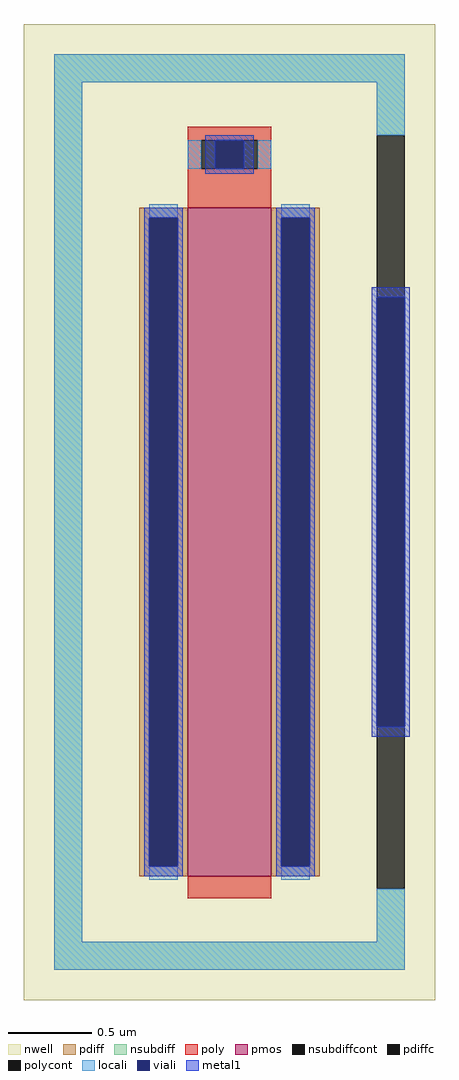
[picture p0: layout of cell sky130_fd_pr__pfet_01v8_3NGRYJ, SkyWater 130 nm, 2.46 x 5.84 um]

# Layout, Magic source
magic
tech sky130A
magscale 1 2
<< nwell >>
rect -246 -584 246 584
<< pmos >>
rect -50 -436 50 364
<< pdiff >>
rect -108 352 -50 364
rect -108 -424 -96 352
rect -62 -424 -50 352
rect -108 -436 -50 -424
rect 50 352 108 364
rect 50 -424 62 352
rect 96 -424 108 352
rect 50 -436 108 -424
<< pdiffc >>
rect -96 -424 -62 352
rect 62 -424 96 352
<< nsubdiff >>
rect -210 514 210 548
rect -210 -514 -176 514
rect 176 451 210 514
rect 176 -514 210 -451
rect -210 -548 210 -514
<< nsubdiffcont >>
rect 176 -451 210 451
<< poly >>
rect -50 445 50 461
rect -50 411 -34 445
rect 34 411 50 445
rect -50 364 50 411
rect -50 -462 50 -436
<< polycont >>
rect -34 411 34 445
<< locali >>
rect -210 514 210 548
rect -210 -514 -176 514
rect 176 451 210 514
rect -50 411 -34 445
rect 34 411 50 445
rect -96 352 -62 368
rect -96 -440 -62 -424
rect 62 352 96 368
rect 62 -440 96 -424
rect 176 -514 210 -451
rect -210 -548 210 -514
<< viali >>
rect -17 411 17 445
rect -96 -424 -62 352
rect 62 -424 96 352
rect 176 -257 210 257
<< metal1 >>
rect -29 445 29 451
rect -29 411 -17 445
rect 17 411 29 445
rect -29 405 29 411
rect -102 352 -56 364
rect -102 -424 -96 352
rect -62 -424 -56 352
rect -102 -436 -56 -424
rect 56 352 102 364
rect 56 -424 62 352
rect 96 -424 102 352
rect 170 257 216 269
rect 170 -257 176 257
rect 210 -257 216 257
rect 170 -269 216 -257
rect 56 -436 102 -424
<< properties >>
string FIXED_BBOX -193 -531 193 531
string gencell sky130_fd_pr__pfet_01v8
string library sky130
string parameters w 4.0 l 0.5 m 1 nf 1 diffcov 100 polycov 100 guard 1 glc 0 grc 1 gtc 0 gbc 0 tbcov 100 rlcov 100 topc 1 botc 0 poverlap 0 doverlap 1 lmin 0.15 wmin 0.42 compatible {sky130_fd_pr__pfet_01v8  sky130_fd_pr__pfet_01v8_lvt sky130_fd_pr__pfet_01v8_hvt  sky130_fd_pr__pfet_g5v0d10v5} full_metal 1 viasrc 100 viadrn 100 viagate 50 viagb 0 viagr 50 viagl 0 viagt 0
<< end >>
